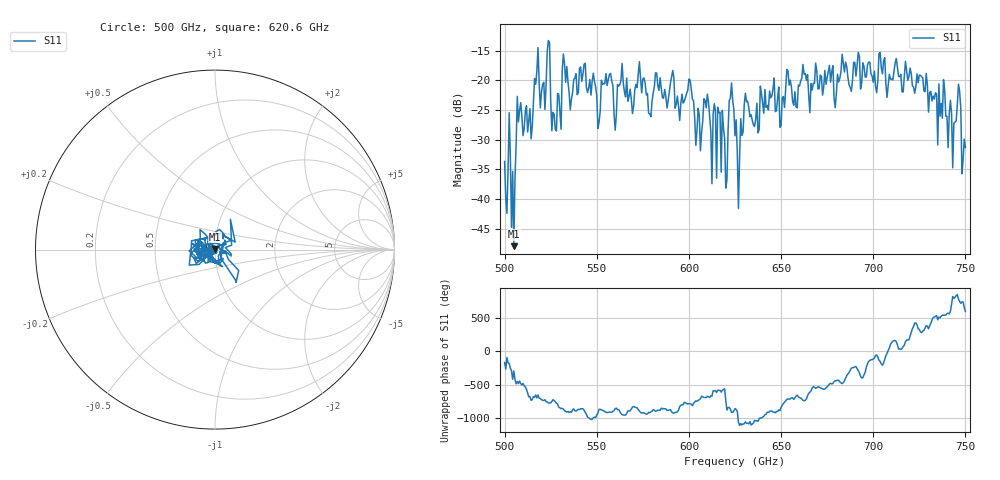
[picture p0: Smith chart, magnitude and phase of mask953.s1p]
!Created with skrf (http://scikit-rf.org).
# GHz S MA R 50.0
!freq magS11 angS11
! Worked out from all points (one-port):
!   401 points, 500 GHz to 750 GHz, reference 50 ohm
!   lowest |S11| = -47.9 dB at 505 GHz (marker M1), VSWR 1.01, Z = 50.2 + j0.367 ohm
!   |S11| at or under -10 dB: start of sweep to end of sweep
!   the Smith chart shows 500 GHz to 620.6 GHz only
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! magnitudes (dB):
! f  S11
! 500 GHz  -33.7
! 505 GHz  -47.9
! 508.1 GHz  -25.1
! 513.8 GHz  -24.8
! 517.5 GHz  -18.4
! 520.6 GHz  -20.6
! 523.8 GHz  -13.3
! 526.9 GHz  -25.7
! 531.2 GHz  -18.4
! 542.5 GHz  -18.9
! 550.6 GHz  -28.1
! 562.5 GHz  -20.7
! 590.6 GHz  -19.3
! 593.8 GHz  -22.6
! 600.6 GHz  -19.9
! 605 GHz  -24.7
! 609.4 GHz  -24.6
! 620 GHz  -38.1
! 623.1 GHz  -20.4
! 625 GHz  -29.3
! 627.5 GHz  -32.8
! 631.2 GHz  -23.6
! 656.2 GHz  -23.5
! 687.5 GHz  -21.2
! 718.8 GHz  -20.0
! 741.9 GHz  -23.3
! 746.2 GHz  -20.6
! 750 GHz  -31.3
